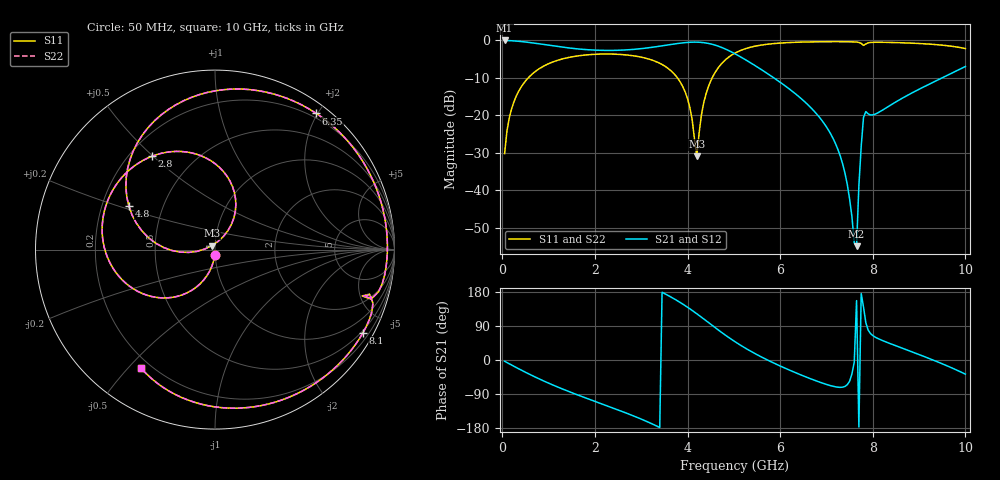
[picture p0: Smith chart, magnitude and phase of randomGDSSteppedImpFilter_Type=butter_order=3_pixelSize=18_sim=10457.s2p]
! freq	dB(S11)	phase(S11)	dB(S12)	phase(S12)
!  dB(S21)	phase(S21)	dB(S22)	phase(S22)
!S-par simulation data
#  GHz  S  DB  R 50
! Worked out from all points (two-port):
!   200 points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, 50 MHz to 10 GHz, reference 50 ohm
!   highest |S21| = -0.01 dB at 50 MHz (marker M1); lowest = -54.9 dB at 7.65 GHz (marker M2)
!   |S21| within 3 dB of the highest: start of sweep to 4.938 GHz
!   lowest |S11| = -30.9 dB at 4.2 GHz (marker M3), VSWR 1.06, Z = 48.1 + j2.11 ohm
!   |S11| at or under -10 dB: start of sweep to 560.2 MHz; 3.782 GHz to 4.532 GHz (750.1 MHz wide, 18 % of centre)
!   |S22| runs from -30.9 to -0.3 dB; largest |S21 - S12| = 0
!   S11 on the Smith chart (normalised r, x): 50 MHz: 0.99, -0.06; 2.8 GHz: 0.29, +0.50; 4.8 GHz: 0.32, +0.22; 6.35 GHz: 0.14, +1.98; 8.1 GHz: 0.43, -3.79; 10 GHz: 0.16, -0.54
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0.05  -30.19 -93.5  -0.01 -3.4  -0.01 -3.4  -30.19 -93.5
0.2  -18.28 -103.7  -0.08 -13.3  -0.08 -13.3  -18.28 -103.7
0.5  -10.85 -122.9  -0.42 -32.3  -0.42 -32.3  -10.85 -122.9
1.75  -3.94 171.7  -2.39 -97.8  -2.39 -97.8  -3.94 171.7
2.8  -4.05 124.1  -2.42 -145.9  -2.42 -145.9  -4.05 124.1
3.4  -6.10 92.6  -1.54 -178.2  -1.54 -178.2  -6.10 92.7
3.95  -13.79 59.1  -0.58 143.3  -0.58 143.3  -13.79 59.1
4.2  -30.87 130.2  -0.46 122.0  -0.46 122.0  -30.90 130.3
4.4  -14.23 -175.9  -0.68 103.7  -0.68 103.7  -14.23 -175.8
4.8  -5.38 153.1  -2.20 67.1  -2.20 67.1  -5.38 153.2
5.05  -3.21 133.2  -3.73 46.3  -3.73 46.3  -3.21 133.3
5.65  -1.13 92.4  -8.23 4.6  -8.23 4.6  -1.13 92.5
6.35  -0.49 53.3  -14.43 -34.4  -14.43 -34.4  -0.49 53.4
6.7  -0.38 35.5  -18.42 -51.5  -18.42 -51.5  -0.38 35.6
7.3  -0.34 6.1  -30.92 -72.2  -30.92 -72.2  -0.34 6.2
7.65  -0.44 -11.6  -54.90 156.7  -54.90 156.7  -0.43 -11.4
7.7  -0.53 -14.6  -38.75 -176.8  -38.75 -176.8  -0.52 -14.3
7.8  -1.31 -17.5  -20.53 139.8  -20.53 139.8  -1.24 -17.4
8.1  -0.49 -29.3  -19.39 57.4  -19.39 57.4  -0.48 -29.3
8.35  -0.53 -41.1  -17.52 44.5  -17.52 44.5  -0.53 -41.0
9.2  -0.96 -80.5  -11.79 4.8  -11.79 4.8  -0.96 -80.5
10  -2.17 -122.0  -6.95 -37.4  -6.95 -37.4  -2.18 -121.9
